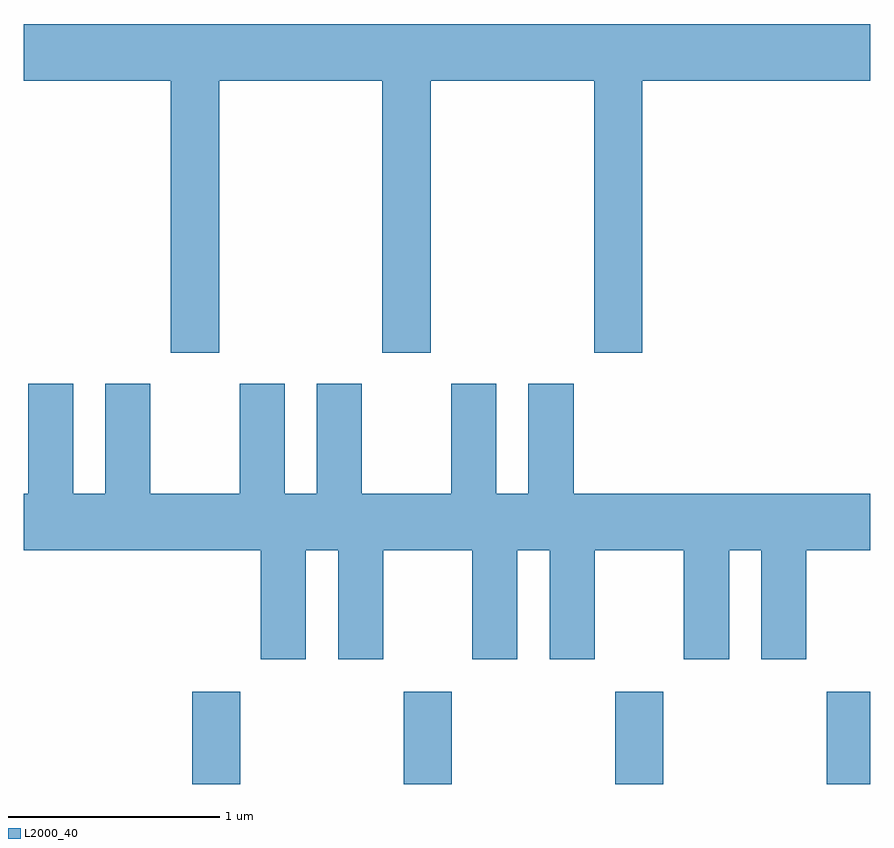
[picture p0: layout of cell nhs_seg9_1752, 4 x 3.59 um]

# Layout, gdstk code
import gdstk
lib = gdstk.Library(unit=1e-6, precision=1e-09)
def R(c, l, rs):  # rectangles x0, y0, x1, y1
    for r in rs: c.add(gdstk.rectangle(r[:2], r[2:], *l))
def A(c, l, x, y, w, h, nx, ny, dx, dy):  # array of equal rectangles
    R(c, l, [(x+i*dx, y+j*dy, x+i*dx+w, y+j*dy+h) for i in range(nx) for j in range(ny)])
def P(c, l, *ps):  # polygons
    for p in ps: c.add(gdstk.Polygon(p, *l))
L2000_40 = (2000, 40)

nhs_seg9_1752 = lib.new_cell('nhs_seg9_1752')
A(nhs_seg9_1752, L2000_40, 236.406, 2048.432, 0.228, 0.437, 3, 1, 1, 0)
R(nhs_seg9_1752, L2000_40, [(239.406,2048.432,239.611,2048.869)])
P(nhs_seg9_1752, L2000_40, [(236.534,2051.756),(237.306,2051.756),(237.306,2050.471),(237.534,2050.471),(237.534,2051.756),(238.306,2051.756),(238.306,2050.471),(238.534,2050.471),(238.534,2051.756),(239.611,2051.756),(239.611,2052.024),(235.611,2052.024),(235.611,2051.756),(236.306,2051.756),(236.306,2050.471),(236.534,2050.471)],
  [(236.944,2049.536),(237.096,2049.536),(237.096,2049.021),(237.309,2049.021),(237.309,2049.536),(237.731,2049.536),(237.731,2049.021),(237.944,2049.021),(237.944,2049.536),(238.096,2049.536),(238.096,2049.021),(238.309,2049.021),(238.309,2049.536),(238.731,2049.536),(238.731,2049.021),(238.944,2049.021),(238.944,2049.536),(239.096,2049.536),(239.096,2049.021),(239.309,2049.021),(239.309,2049.536),(239.611,2049.536),(239.611,2049.804),(238.209,2049.804),(238.209,2050.324),(237.996,2050.324),(237.996,2049.804),(237.844,2049.804),(237.844,2050.324),(237.631,2050.324),(237.631,2049.804),(237.209,2049.804),(237.209,2050.324),(236.996,2050.324),(236.996,2049.804),(236.844,2049.804),(236.844,2050.324),(236.631,2050.324),(236.631,2049.804),(236.209,2049.804),(236.209,2050.324),(235.996,2050.324),(235.996,2049.804),(235.844,2049.804),(235.844,2050.324),(235.631,2050.324),(235.631,2049.804),(235.611,2049.804),(235.611,2049.536),(236.731,2049.536),(236.731,2049.021),(236.944,2049.021)])

lib.write_gds('nhs_seg9_1752.gds')
